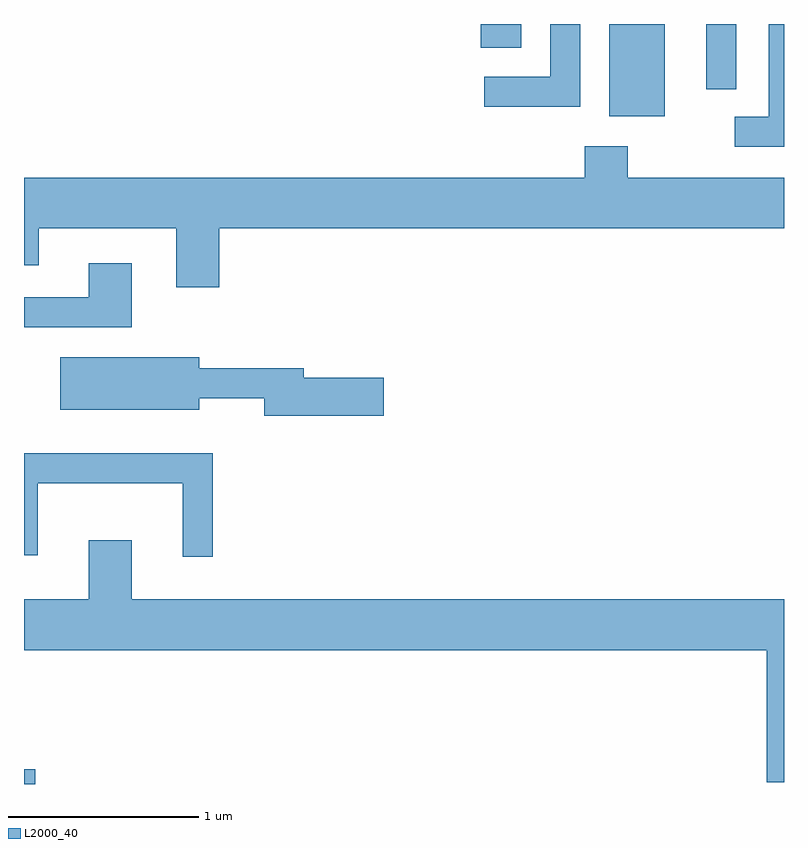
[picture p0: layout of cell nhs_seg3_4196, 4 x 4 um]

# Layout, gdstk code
import gdstk
lib = gdstk.Library(unit=1e-6, precision=1e-09)
def R(c, l, rs):  # rectangles x0, y0, x1, y1
    for r in rs: c.add(gdstk.rectangle(r[:2], r[2:], *l))
def P(c, l, *ps):  # polygons
    for p in ps: c.add(gdstk.Polygon(p, *l))
L2000_40 = (2000, 40)

nhs_seg3_4196 = lib.new_cell('nhs_seg3_4196')
R(nhs_seg3_4196, L2000_40, [(307.611,1211.892,307.669,1211.969), (310.691,1215.406,310.984,1215.892), (311.201,1215.548,311.359,1215.892), (310.016,1215.766,310.229,1215.892)])
P(nhs_seg3_4196, L2000_40, [(311.611,1215.892),(311.531,1215.892),(311.531,1215.404),(311.353,1215.404),(311.353,1215.246),(311.611,1215.246)],
  [(310.539,1215.892),(310.381,1215.892),(310.381,1215.614),(310.033,1215.614),(310.033,1215.456),(310.539,1215.456)],
  [(308.639,1214.816),(311.611,1214.816),(311.611,1215.084),(310.789,1215.084),(310.789,1215.249),(310.561,1215.249),(310.561,1215.084),(307.611,1215.084),(307.611,1214.621),(307.689,1214.621),(307.689,1214.816),(308.411,1214.816),(308.411,1214.506),(308.639,1214.506)],
  [(308.179,1214.634),(307.951,1214.634),(307.951,1214.454),(307.611,1214.454),(307.611,1214.296),(308.179,1214.296)],
  [(309.504,1214.029),(309.084,1214.029),(309.084,1214.079),(308.534,1214.079),(308.534,1214.139),(307.801,1214.139),(307.801,1213.861),(308.534,1213.861),(308.534,1213.921),(308.876,1213.921),(308.876,1213.831),(309.504,1213.831)],
  [(308.604,1213.634),(307.611,1213.634),(307.611,1213.096),(307.684,1213.096),(307.684,1213.476),(308.446,1213.476),(308.446,1213.088),(308.604,1213.088)],
  [(311.611,1212.864),(308.179,1212.864),(308.179,1213.174),(307.951,1213.174),(307.951,1212.864),(307.611,1212.864),(307.611,1212.596),(311.521,1212.596),(311.521,1211.901),(311.611,1211.901)])

lib.write_gds('nhs_seg3_4196.gds')
